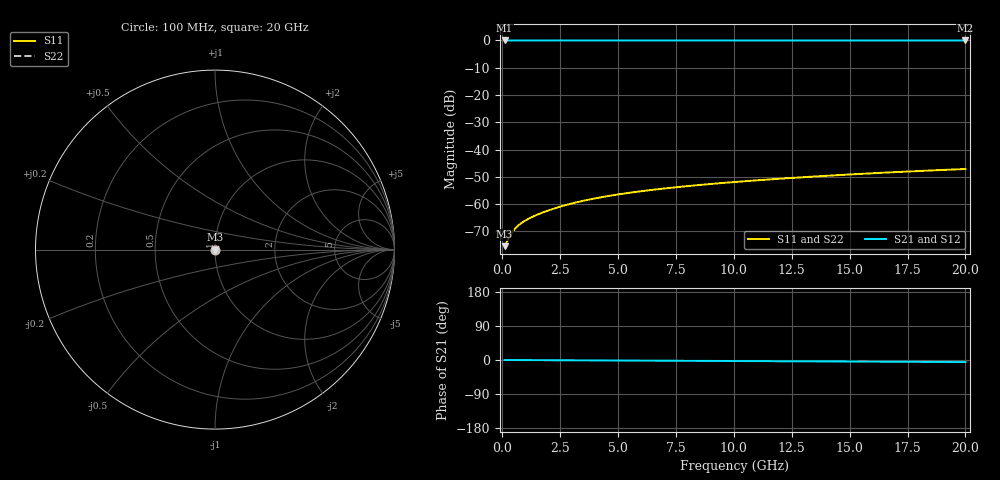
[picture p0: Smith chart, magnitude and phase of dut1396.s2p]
! Touchstone file exported from HFSS 2026.1.0
!  File:  C:/ffzhzh/LocalFiles/Ansys_Project_Files/temp_train_TSV_1396_1783196763_43440.aedt
!  Generated:  04:27:27 AM Jul  5, 2026
!  Design:  TSV
!  Project:  temp_train_TSV_1396_1783196763_43440
! Variables:
!  h_bsmrdl = 2um
!  h_ox = 20um
!  h_rdl = 5um
!  h_sub = 53.69um
!  h_tmrdl = 5um
!  h_tsv = 53.69um
!  h_via = 3um
!  l_bsmrdl = 300um
!  l_sub = 414.38um
!  l_tmrdl = 200um
!  m_sub = 200um
!  pitch = 30.43um
!  r_tsv = 7.19um
!  s_tmrdl = 10um
!  w_bsmrdl = 18um
!  w_sub = 500um
!  w_tmrdl = 12um
!  x_tsv_center1 = 206um
!  x_tsv_center2 = 524um
!  x_tsv_center3 = 736um
!  x_tsv_center4 = 1054um
!  x_tsv_center5 = 1266um
!  x_tsv_center6 = 1584um
# GHz S MA R 50.000000
! Terminal data exported
! Port[1] = TSV1_1_T1
! Port[2] = TSV1_1_T2
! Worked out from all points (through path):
!   200 points, 100 MHz to 20 GHz, reference 50 ohm
!   highest |S21| = 0.00 dB at 100 MHz (marker M1); lowest = 0.0 dB at 20 GHz (marker M2)
!   lowest |S11| = -75.5 dB at 100 MHz (marker M3), VSWR 1.00, Z = 50 + j0.00582 ohm
!   |S11| at or under -10 dB: start of sweep to end of sweep
!   |S22| runs from -75.5 to -47.1 dB; largest |S21 - S12| = 3e-15
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0.1  0.0001688 20.2  0.9998 -0.0  0.9998 -0.0  0.0001688 20.2
! Gamma 0 0 0 0
! Port Impedance 50 0 50 0
0.3  0.0002478 41.2  0.9998 -0.1  0.9998 -0.1  0.0002478 41.2
0.4  0.000292 45.3  0.9998 -0.1  0.9998 -0.1  0.000292 45.3
0.5  0.0003338 47.6  0.9998 -0.1  0.9998 -0.1  0.0003338 47.6
0.6  0.0003722 49.1  0.9998 -0.2  0.9998 -0.2  0.0003722 49.1
0.7  0.0004076 50.1  0.9997 -0.2  0.9997 -0.2  0.0004075 50.1
0.8  0.0004403 51.0  0.9997 -0.2  0.9997 -0.2  0.0004403 51.0
1  0.0005005 52.6  0.9997 -0.3  0.9997 -0.3  0.0005005 52.6
1.2  0.0005563 54.1  0.9997 -0.3  0.9997 -0.3  0.0005563 54.1
1.5  0.0006365 56.1  0.9996 -0.4  0.9996 -0.4  0.0006365 56.1
2.1  0.0007933 59.3  0.9996 -0.6  0.9996 -0.6  0.0007933 59.3
2.8  0.0009734 61.8  0.9995 -0.8  0.9995 -0.8  0.0009734 61.8
3.5  0.001148 63.2  0.9995 -1.0  0.9995 -1.0  0.001148 63.2
4.2  0.001316 64.2  0.9994 -1.2  0.9994 -1.2  0.001316 64.2
5  0.0015 64.9  0.9994 -1.4  0.9994 -1.4  0.0015 64.9
5.9  0.001698 65.5  0.9993 -1.6  0.9993 -1.6  0.001698 65.5
6.8  0.001888 66.0  0.9993 -1.9  0.9993 -1.9  0.001888 66.0
8.3  0.002194 66.7  0.9992 -2.3  0.9992 -2.3  0.002194 66.7
10.1  0.00255 67.4  0.9991 -2.8  0.9991 -2.8  0.00255 67.4
13.4  0.003184 68.2  0.999 -3.7  0.999 -3.7  0.003184 68.2
16.7  0.0038 68.5  0.9989 -4.6  0.9989 -4.6  0.0038 68.5
20  0.004393 68.4  0.9988 -5.4  0.9988 -5.4  0.004393 68.4
